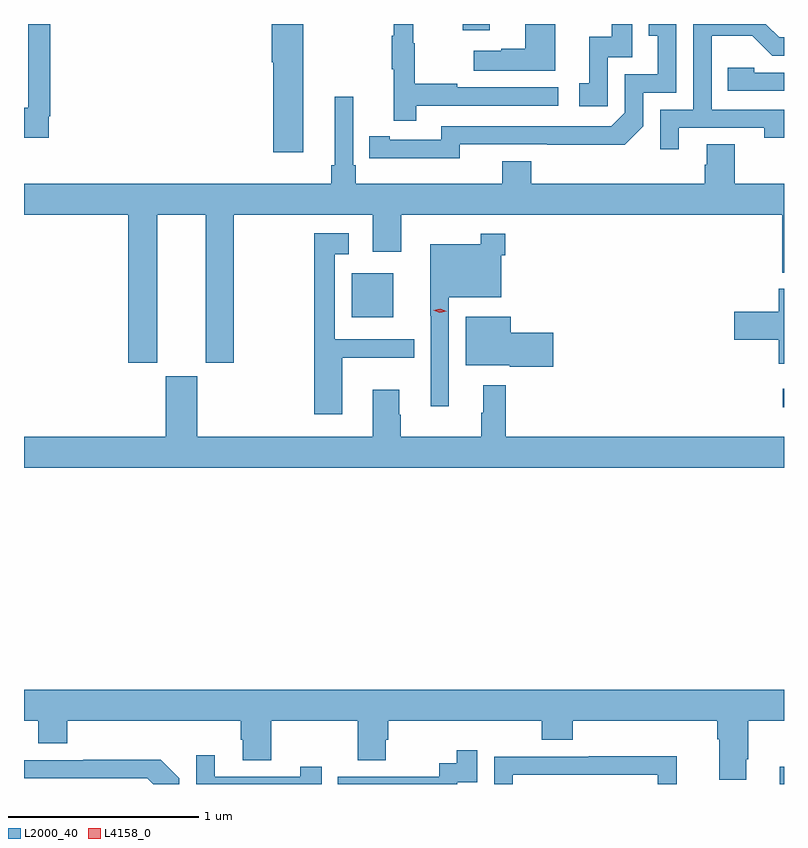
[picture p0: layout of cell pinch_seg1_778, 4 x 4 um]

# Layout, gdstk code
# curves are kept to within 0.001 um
import gdstk
lib = gdstk.Library(unit=1e-6, precision=1e-09)
def R(c, l, rs):  # rectangles x0, y0, x1, y1
    for r in rs: c.add(gdstk.rectangle(r[:2], r[2:], *l))
def P(c, l, *ps):  # polygons
    for p in ps: c.add(gdstk.Polygon(p, *l))
L2000_40 = (2000, 40)
L4158_0 = (4158, 0)

pinch_seg1_778 = lib.new_cell('pinch_seg1_778')
R(pinch_seg1_778, L2000_40, [(544.307,543.408,544.329,543.499), (544.323,545.39,544.329,545.488), (542.054,545.864,542.272,546.097), (542.639,547.374,542.779,547.408)])
P(pinch_seg1_778, L2000_40, [(543.124,547.408),(542.966,547.408),(542.966,547.277),(542.84,547.277),(542.84,547.267),(542.697,547.267),(542.697,547.163),(543.124,547.163)],
  [(542.393,546.978),(543.142,546.978),(543.142,547.074),(542.609,547.074),(542.609,547.094),(542.386,547.094),(542.386,547.308),(542.378,547.308),(542.378,547.408),(542.276,547.408),(542.276,547.345),(542.265,547.345),(542.265,547.171),(542.276,547.171),(542.276,546.9),(542.393,546.9)],
  [(543.775,546.861),(544.226,546.861),(544.226,546.81),(544.329,546.81),(544.329,546.957),(543.948,546.957),(543.948,547.346),(544.162,547.346),(544.266,547.242),(544.329,547.242),(544.329,547.338),(544.303,547.338),(544.233,547.408),(543.852,547.408),(543.852,546.957),(543.678,546.957),(543.678,546.75),(543.775,546.75)],
  [(543.402,547.233),(543.531,547.233),(543.531,547.408),(543.423,547.408),(543.423,547.342),(543.305,547.342),(543.305,547.095),(543.252,547.095),(543.252,546.975),(543.402,546.975)],
  [(541.798,547.408),(541.634,547.408),(541.634,547.206),(541.64,547.206),(541.64,546.732),(541.798,546.732)],
  [(542.622,546.774),(543.49,546.773),(543.588,546.87),(543.588,547.047),(543.762,547.047),(543.762,547.408),(543.616,547.408),(543.616,547.347),(543.665,547.347),(543.665,547.143),(543.492,547.143),(543.492,546.942),(543.42,546.87),(542.526,546.87),(542.526,546.798),(542.254,546.798),(542.254,546.818),(542.146,546.818),(542.146,546.702),(542.622,546.701)],
  [(540.46,546.922),(540.467,546.922),(540.467,547.408),(540.351,547.408),(540.351,546.966),(540.329,546.966),(540.329,546.81),(540.46,546.81)],
  [(544.329,547.152),(544.173,547.152),(544.173,547.179),(544.033,547.179),(544.033,547.056),(544.329,547.056)],
  [(541.03,546.404),(541.286,546.404),(541.286,545.625),(541.434,545.625),(541.434,546.404),(542.165,546.404),(542.165,546.21),(542.314,546.21),(542.314,546.404),(544.319,546.404),(544.319,546.1),(544.329,546.1),(544.329,546.568),(544.071,546.568),(544.071,546.776),(543.923,546.776),(543.923,546.666),(543.911,546.666),(543.911,546.568),(542.999,546.568),(542.999,546.685),(542.846,546.685),(542.846,546.568),(542.075,546.568),(542.075,546.664),(542.061,546.664),(542.061,547.024),(541.964,547.024),(541.964,546.664),(541.945,546.664),(541.945,546.568),(540.329,546.568),(540.329,546.404),(540.878,546.404),(540.878,545.625),(541.03,545.625)],
  [(542.005,545.651),(542.384,545.651),(542.384,545.748),(541.965,545.748),(541.965,546.197),(542.038,546.197),(542.038,546.307),(541.857,546.307),(541.857,545.645),(541.856,545.645),(541.856,545.355),(542.005,545.355)],
  [(542.565,545.969),(542.841,545.969),(542.841,546.191),(542.861,546.191),(542.861,546.304),(542.733,546.304),(542.733,546.25),(542.468,546.25),(542.468,545.873),(542.469,545.873),(542.469,545.397),(542.565,545.397)],
  [(544.329,546.015),(544.301,546.015),(544.301,545.894),(544.068,545.894),(544.068,545.747),(544.301,545.747),(544.301,545.619),(544.329,545.619)],
  [(543.115,545.783),(542.89,545.783),(542.89,545.866),(542.654,545.866),(542.654,545.612),(542.886,545.612),(542.886,545.605),(543.115,545.605)],
  [(544.329,545.236),(542.864,545.236),(542.864,545.506),(542.747,545.506),(542.747,545.363),(542.736,545.363),(542.736,545.236),(542.313,545.236),(542.313,545.351),(542.305,545.351),(542.305,545.482),(542.165,545.482),(542.165,545.236),(541.24,545.236),(541.24,545.553),(541.076,545.553),(541.076,545.236),(540.329,545.236),(540.329,545.072),(544.329,545.072)],
  [(540.329,543.74),(540.404,543.74),(540.404,543.623),(540.557,543.623),(540.557,543.74),(541.469,543.74),(541.469,543.642),(541.481,543.642),(541.481,543.532),(541.629,543.532),(541.629,543.74),(542.086,543.74),(542.086,543.532),(542.233,543.532),(542.233,543.642),(542.246,543.642),(542.246,543.74),(543.053,543.74),(543.053,543.641),(543.218,543.641),(543.218,543.74),(543.977,543.74),(543.977,543.644),(543.989,543.644),(543.989,543.431),(544.129,543.431),(544.129,543.538),(544.142,543.538),(544.142,543.74),(544.329,543.74),(544.329,543.904),(540.329,543.904)],
  [(542.61,543.417),(542.715,543.417),(542.715,543.586),(542.607,543.586),(542.607,543.516),(542.514,543.516),(542.514,543.447),(541.98,543.447),(541.98,543.408),(542.61,543.408)],
  [(541.895,543.499),(541.784,543.499),(541.784,543.447),(541.333,543.447),(541.333,543.559),(541.236,543.559),(541.236,543.408),(541.895,543.408)],
  [(542.901,543.456),(543.665,543.456),(543.665,543.408),(543.765,543.408),(543.765,543.554),(543.301,543.554),(543.301,543.552),(542.805,543.552),(542.805,543.408),(542.901,543.408)],
  [(541.146,543.438),(541.048,543.536),(540.64,543.536),(540.64,543.534),(540.329,543.534),(540.329,543.438),(540.978,543.438),(541.008,543.408),(541.146,543.408)])
P(pinch_seg1_778, L4158_0, [(542.518,545.889),(542.483,545.901),(542.483,545.901),(542.483,545.901),(542.52,545.909),(542.555,545.897),(542.555,545.897),(542.555,545.897)])

lib.write_gds('pinch_seg1_778.gds')
